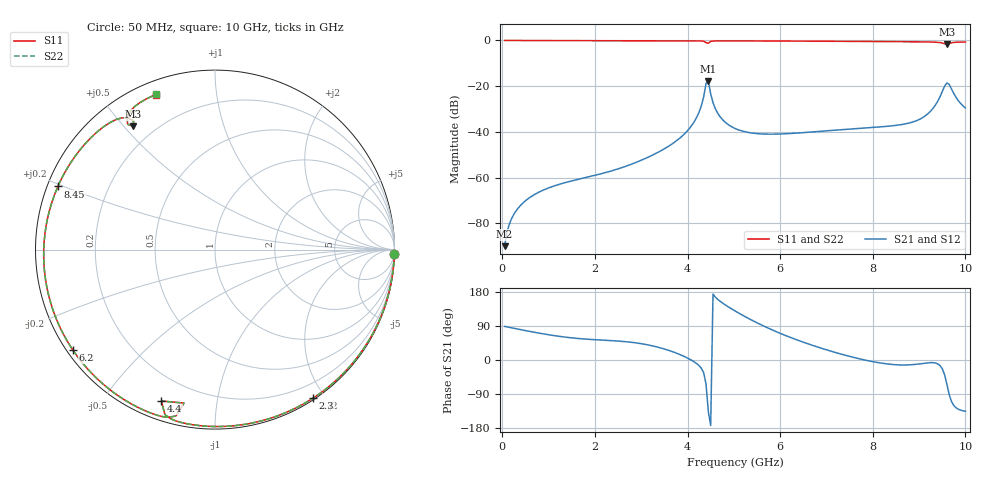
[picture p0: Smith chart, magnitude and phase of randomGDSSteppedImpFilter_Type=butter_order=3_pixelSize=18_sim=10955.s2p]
! freq	dB(S11)	phase(S11)	dB(S12)	phase(S12)
!  dB(S21)	phase(S21)	dB(S22)	phase(S22)
!S-par simulation data
#  GHz  S  DB  R 50
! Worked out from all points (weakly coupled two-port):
!   200 points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, 50 MHz to 10 GHz, reference 50 ohm
!   highest |S21| = -17.87 dB at 4.45 GHz (marker M1); lowest = -90.0 dB at 50 MHz (marker M2)
!   lowest |S11| = -1.7 dB at 9.6 GHz (marker M3), VSWR 10.44, Z = 6.15 + j26.5 ohm
!   |S11| at or under -10 dB: nowhere
!   |S22| runs from -1.7 to 0.0 dB; largest |S21 - S12| = 0
!   S11 on the Smith chart (normalised r, x): 50 MHz: 0, -90; 2.3 GHz: 0.02, -1.86; 4.4 GHz: 0.08, -0.70; 6.2 GHz: 0.02, -0.32; 8.45 GHz: 0.03, +0.19; 10 GHz: 0.06, +0.69
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0.05  -0.00 -1.3  -90.03 88.7  -90.03 88.7  -0.00 -1.3
0.15  -0.01 -3.8  -80.49 86.2  -80.49 86.2  -0.01 -3.8
0.35  -0.01 -8.8  -73.19 81.3  -73.19 81.3  -0.01 -8.8
0.7  -0.02 -17.5  -67.38 73.0  -67.38 73.0  -0.02 -17.5
1.75  -0.06 -43.4  -60.24 55.6  -60.24 55.6  -0.06 -43.4
2.3  -0.07 -56.5  -57.43 51.5  -57.43 51.5  -0.07 -56.6
3.4  -0.11 -82.3  -48.56 32.5  -48.56 32.5  -0.11 -82.3
4.1  -0.15 -98.8  -36.93 -1.5  -36.93 -1.5  -0.15 -98.8
4.3  -0.23 -104.7  -28.47 -22.2  -28.47 -22.2  -0.23 -104.7
4.4  -0.97 -109.5  -18.80 -64.2  -18.80 -64.2  -0.96 -109.5
4.45  -1.19 -101.4  -17.87 -137.5  -17.87 -137.5  -1.19 -101.4
4.55  -0.27 -105.5  -27.21 173.8  -27.21 173.8  -0.27 -105.6
4.65  -0.20 -108.8  -31.79 160.2  -31.79 160.2  -0.20 -108.8
5.05  -0.19 -118.6  -38.73 127.7  -38.73 127.7  -0.19 -118.6
6.2  -0.27 -144.9  -40.74 60.6  -40.74 60.6  -0.27 -144.9
6.7  -0.31 -156.6  -40.04 38.6  -40.04 38.6  -0.31 -156.6
8.35  -0.49 161.0  -37.50 -10.9  -37.50 -10.9  -0.49 160.9
8.45  -0.51 158.1  -37.29 -12.1  -37.29 -12.1  -0.51 158.1
9.15  -0.64 136.5  -32.75 -7.9  -32.75 -7.9  -0.64 136.4
9.35  -0.75 129.3  -28.35 -7.9  -28.35 -7.9  -0.75 129.3
9.6  -1.67 123.6  -18.58 -63.9  -18.58 -63.9  -1.66 123.5
10  -0.69 110.8  -29.56 -135.3  -29.56 -135.3  -0.69 110.7
